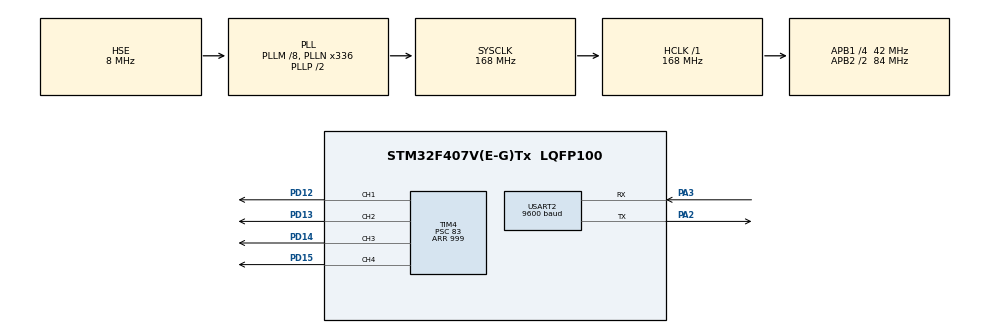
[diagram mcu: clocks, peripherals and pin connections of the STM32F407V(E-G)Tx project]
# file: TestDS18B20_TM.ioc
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FREERTOS.Tasks01=defaultTask,0,128,StartDefaultTask,Default,NULL
FREERTOS.configUSE_TIMERS=1
Mcu.Family=STM32F4
Mcu.Name=STM32F407V(E-G)Tx
Mcu.Package=LQFP100
NVIC.PriorityGroup=NVIC_PRIORITYGROUP_4
NVIC.USART2_IRQn=true\:5\:0\:false\:false\:true\:true\:true
PA2.Mode=Asynchronous
PA2.Signal=USART2_TX
PA3.Mode=Asynchronous
PA3.Signal=USART2_RX
PD12.Signal=S_TIM4_CH1
PD13.Signal=S_TIM4_CH2
PD14.Signal=S_TIM4_CH3
PD15.Signal=S_TIM4_CH4
PH0-OSC_IN.Mode=HSE-External-Oscillator
PH0-OSC_IN.Signal=RCC_OSC_IN
PH1-OSC_OUT.Mode=HSE-External-Oscillator
PH1-OSC_OUT.Signal=RCC_OSC_OUT
ProjectManager.HeapSize=0x200
ProjectManager.StackSize=0x400
ProjectManager.TargetToolchain=SW4STM32
RCC.48MHZClocksFreq_Value=48000000
RCC.AHBFreq_Value=168000000
RCC.APB1CLKDivider=RCC_HCLK_DIV4
RCC.APB1Freq_Value=42000000
RCC.APB1TimFreq_Value=84000000
RCC.APB2CLKDivider=RCC_HCLK_DIV2
RCC.APB2Freq_Value=84000000
RCC.APB2TimFreq_Value=168000000
RCC.CortexFreq_Value=168000000
RCC.HCLKFreq_Value=168000000
RCC.HSE_VALUE=8000000
RCC.HSI_VALUE=16000000
RCC.LSE_VALUE=32768
RCC.PLLM=8
RCC.PLLN=336
RCC.PLLQ=7
RCC.PLLSourceVirtual=RCC_PLLSOURCE_HSE
RCC.SYSCLKFreq_VALUE=168000000
RCC.SYSCLKSource=RCC_SYSCLKSOURCE_PLLCLK
RCC.VCOOutputFreq_Value=336000000
SH.S_TIM4_CH1.0=TIM4_CH1,PWM Generation1 CH1
SH.S_TIM4_CH2.0=TIM4_CH2,PWM Generation2 CH2
SH.S_TIM4_CH3.0=TIM4_CH3,PWM Generation3 CH3
SH.S_TIM4_CH4.0=TIM4_CH4,PWM Generation4 CH4
TIM4.Channel-PWM\ Generation1\ CH1=TIM_CHANNEL_1
TIM4.Channel-PWM\ Generation2\ CH2=TIM_CHANNEL_2
TIM4.Channel-PWM\ Generation3\ CH3=TIM_CHANNEL_3
TIM4.Channel-PWM\ Generation4\ CH4=TIM_CHANNEL_4
TIM4.Period=999
TIM4.Prescaler=83
TIM4.Pulse-PWM\ Generation1\ CH1=0
TIM4.Pulse-PWM\ Generation2\ CH2=0
TIM4.Pulse-PWM\ Generation3\ CH3=0
TIM4.Pulse-PWM\ Generation4\ CH4=0
USART2.BaudRate=9600
USART2.VirtualMode=VM_ASYNC
VP_FREERTOS_VS_ENABLE.Mode=Enabled
VP_TIM4_VS_ClockSourceINT.Mode=Internal
board=STM32F4DISCOVERY

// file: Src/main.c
/**
  ******************************************************************************
  * @file           : main.c
  * @brief          : Main program body
  ******************************************************************************
  * This notice applies to any and all portions of this file
  * that are not between comment pairs USER CODE BEGIN and
  * USER CODE END. Other portions of this file, whether
  * inserted by the user or by software development tools
  * are owned by their respective copyright owners.
  *
  * Copyright (c) 2018 STMicroelectronics International N.V.
  * All rights reserved.
  *
  * Redistribution and use in source and binary forms, with or without
  * modification, are permitted, provided that the following conditions are met:
  *
  * 1. Redistribution of source code must retain the above copyright notice,
  *    this list of conditions and the following disclaimer.
  * 2. Redistributions in binary form must reproduce the above copyright notice,
  *    this list of conditions and the following disclaimer in the documentation
  *    and/or other materials provided with the distribution.
  * 3. Neither the name of STMicroelectronics nor the names of other
  *    contributors to this software may be used to endorse or promote products
  *    derived from this software without specific written permission.
  * 4. This software, including modifications and/or derivative works of this
  *    software, must execute solely and exclusively on microcontroller or
  *    microprocessor devices manufactured by or for STMicroelectronics.
  * 5. Redistribution and use of this software other than as permitted under
  *    this license is void and will automatically terminate your rights under
  *    this license.
  *
  * THIS SOFTWARE IS PROVIDED BY STMICROELECTRONICS AND CONTRIBUTORS "AS IS"
  * AND ANY EXPRESS, IMPLIED OR STATUTORY WARRANTIES, INCLUDING, BUT NOT
  * LIMITED TO, THE IMPLIED WARRANTIES OF MERCHANTABILITY, FITNESS FOR A
  * PARTICULAR PURPOSE AND NON-INFRINGEMENT OF THIRD PARTY INTELLECTUAL PROPERTY
  * RIGHTS ARE DISCLAIMED TO THE FULLEST EXTENT PERMITTED BY LAW. IN NO EVENT
  * SHALL STMICROELECTRONICS OR CONTRIBUTORS BE LIABLE FOR ANY DIRECT, INDIRECT,
  * INCIDENTAL, SPECIAL, EXEMPLARY, OR CONSEQUENTIAL DAMAGES (INCLUDING, BUT NOT
  * LIMITED TO, PROCUREMENT OF SUBSTITUTE GOODS OR SERVICES; LOSS OF USE, DATA,
  * OR PROFITS; OR BUSINESS INTERRUPTION) HOWEVER CAUSED AND ON ANY THEORY OF
  * LIABILITY, WHETHER IN CONTRACT, STRICT LIABILITY, OR TORT (INCLUDING
  * NEGLIGENCE OR OTHERWISE) ARISING IN ANY WAY OUT OF THE USE OF THIS SOFTWARE,
  * EVEN IF ADVISED OF THE POSSIBILITY OF SUCH DAMAGE.
  *
  ******************************************************************************
  */
#include "main.h"
#include "stm32f4xx_hal.h"
#include "cmsis_os.h"

/* USER CODE BEGIN Includes */

/* Include core modules */
#include "stm32fxxx_hal.h"
/* Include my libraries here */
#include "defines.h"
//#include "tm_stm32_disco.h"
#include "tm_stm32_delay.h"
#include "tm_stm32_ds18b20.h"
#include "tm_stm32_onewire.h"
#include "stdlib.h"
#include "string.h"
#include "math.h"

/* USER CODE END Includes */

TIM_HandleTypeDef htim4;

UART_HandleTypeDef huart2;

osThreadId defaultTaskHandle;

/* USER CODE BEGIN PV */
/* Private variables ---------------------------------------------------------*/
char rx_buff[10] = "IDLE";
char tx_buff[10] = "IDLE"; //SEND only temperature
osTimerId ledRunningTimer;
osTimerId fanTimerID;
osTimerId DS18B20TimerID;
osTimerId rgbRainbowTimerID;
osTimerId temperatureTimerID;
osTimerId staticColorTimerID;
osTimerId twoFadeTimerID;
osTimerId UARTListenTimerID;
//osThreadId fanThreadID;
//osThreadId DS18B20ThreadID;
//uint16_t fanSpeed = 999;//maximum 999
uint16_t fanSpeedP1[2] = {20, 600};
uint16_t fanSpeedP2[2] = {50, 800};
uint16_t fanSpeedP3[2] = {70, 900};
uint16_t fanSpeedP4[2] = {80, 999};
uint16_t const MAXFANSPEED = 999;
uint8_t const NORMALTEMPERATURE = 30;
uint8_t const HOTTEMPERATURE = 55;
uint8_t ledStep = 1;

/* Onewire structure */
TM_OneWire_t OW;

/* Array for DS18B20 ROM number */
uint8_t DS_ROM[8];

/* Temperature variable */
float temperature;

//osSemaphoreId binSemFanSpeedID;
osSemaphoreId binSemaphoreRGBStripID;

typedef enum { WAIT_FOR_COMMAND, WAIT_FOR_COLOR1, WAIT_FOR_COLOR2, WAIT_FOR_POINT1, WAIT_FOR_POINT2, WAIT_FOR_POINT3, WAIT_FOR_POINT4} CommandStage;
CommandStage cmdStage = WAIT_FOR_COMMAND;

typedef enum { RAINBOW, TEMPERATURE, STATIC_COLOR, TWOFADE} RGBMode; //Breathing is twofade with another color is 0 0 0
uint16_t rgbColour[3] = {999, 0, 0};
uint16_t rgbColour2[3] = {999, 0, 0};
RGBMode rgbMode = RAINBOW;
uint16_t decColour = 0;
uint16_t incColour = 1;
uint16_t rainBowCounter = 0;
/* USER CODE END PV */

void SystemClock_Config(void);
static void MX_GPIO_Init(void);
static void MX_USART2_UART_Init(void);
static void MX_TIM4_Init(void);
void StartDefaultTask(void const * argument);
void HAL_TIM_MspPostInit(TIM_HandleTypeDef *htim);

/* USER CODE BEGIN PFP */
/* Private function prototypes -----------------------------------------------*/
/**
 * cmd Example(Maximum value) : F100, LS10 LM03
 */
//void changeFanSpeed(uint16_t speed_percent);
void reverse(char *str, int len);
int intToStr(int x, char str[], int d);
void ftoa(float n, char *res, int afterpoint);
void resetRainbowTask();
void processCommand(char* cmd){
	cmd[4] = '\0';
	if(cmd[0] == 'F'){ //F
		//changeFanSpeed((uint16_t)atoi(cmd + 1));
		cmdStage = WAIT_FOR_POINT1;
		HAL_UART_Receive_IT(&huart2, (uint8_t *)rx_buff, 6); //080100
	} else if(cmd[0] == 'L'){ //L
		if(cmd[1] == 'S'){ //LS
			ledStep = (atoi(cmd + 2));
			if(rgbMode == RAINBOW){
				resetRainbowTask();
			}
		}else {//LM
			rgbMode = (RGBMode)(atoi(cmd + 3));
			if(rgbMode != RAINBOW){
				cmdStage = WAIT_FOR_COLOR1;
				HAL_UART_Receive_IT(&huart2, (uint8_t *)rx_buff, 9);
			}
			osTimerStop(ledRunningTimer);
			switch(rgbMode){
			case RAINBOW:
				resetRainbowTask();
				osTimerStart(rgbRainbowTimerID, 5);
				ledRunningTimer = rgbRainbowTimerID;
				break;
			case TEMPERATURE:
				osTimerStart(temperatureTimerID, 100);
				ledRunningTimer = temperatureTimerID;
				break;
			case STATIC_COLOR:
				osTimerStart(staticColorTimerID, 1000);
				ledRunningTimer = staticColorTimerID;
				break;
			case TWOFADE:
				rainBowCounter = 0;
				osTimerStart(twoFadeTimerID, 5);
				ledRunningTimer = twoFadeTimerID;
				break;
			}
		}
	}
}

void HAL_UART_RxCpltCallback(UART_HandleTypeDef *huart)
{
	char copybuf[10];
	strncpy(copybuf, rx_buff, 10);
	switch(cmdStage){
	case WAIT_FOR_COMMAND:
		processCommand(copybuf);
		break;
	case WAIT_FOR_COLOR1:
		copybuf[10] = '\0';
		rgbColour[2] = atoi(copybuf + 6);
		copybuf[6] = '\0';
		rgbColour[1] = atoi(copybuf + 3);
		copybuf[3] = '\0';
		rgbColour[0] = atoi(copybuf);
		cmdStage = WAIT_FOR_COLOR2;
		HAL_UART_Receive_IT(&huart2, (uint8_t *)rx_buff, 9);
		break;
	case WAIT_FOR_COLOR2:
		copybuf[10] = '\0';
		rgbColour2[2] = atoi(copybuf + 6);
		copybuf[6] = '\0';
		rgbColour2[1] = atoi(copybuf + 3);
		copybuf[3] = '\0';
		rgbColour2[0] = atoi(copybuf);
		cmdStage = WAIT_FOR_COMMAND;
		break;
	case WAIT_FOR_POINT1:
		copybuf[7] = '\0';
		fanSpeedP1[1] = (atoi(copybuf + 3)/100.0)*MAXFANSPEED;
		copybuf[3] = '\0';
		fanSpeedP1[0] = atoi(copybuf);
		cmdStage = WAIT_FOR_POINT2;
		HAL_UART_Receive_IT(&huart2, (uint8_t *)rx_buff, 6);
		break;
	case WAIT_FOR_POINT2:
		copybuf[7] = '\0';
		fanSpeedP2[1] = (atoi(copybuf + 3)/100.0)*MAXFANSPEED;
		copybuf[3] = '\0';
		fanSpeedP2[0] = atoi(copybuf);
		cmdStage = WAIT_FOR_POINT3;
		HAL_UART_Receive_IT(&huart2, (uint8_t *)rx_buff, 6);
		break;
	case WAIT_FOR_POINT3:
		copybuf[7] = '\0';
		fanSpeedP3[1] = (atoi(copybuf + 3)/100.0)*MAXFANSPEED;
		copybuf[3] = '\0';
		fanSpeedP3[0] = atoi(copybuf);
		cmdStage = WAIT_FOR_POINT4;
		HAL_UART_Receive_IT(&huart2, (uint8_t *)rx_buff, 6);
		break;
	case WAIT_FOR_POINT4:
		copybuf[7] = '\0';
		fanSpeedP4[1] = (atoi(copybuf + 3)/100.0)*MAXFANSPEED;
		copybuf[3] = '\0';
		fanSpeedP4[0] = atoi(copybuf);
		cmdStage = WAIT_FOR_COMMAND;
		break;
	}
}

void UARTListenTask(void const * argument){
//	uint8_t listenSize = 4;
	if(cmdStage == WAIT_FOR_COMMAND){
		HAL_UART_Receive_IT(&huart2, (uint8_t *)rx_buff, 4);
	}
}

// reverses a string 'str' of length 'len'
void reverse(char *str, int len)
{
    int i=0, j=len-1, temp;
    while (i<j)
    {
        temp = str[i];
        str[i] = str[j];
        str[j] = temp;
        i++; j--;
    }
}
 // Converts a given integer x to string str[].  d is the number
 // of digits required in output. If d is more than the number
 // of digits in x, then 0s are added at the beginning.
int intToStr(int x, char str[], int d)
{
    int i = 0;
    while (x)
    {
        str[i++] = (x%10) + '0';
        x = x/10;
    }

    // If number of digits required is more, then
    // add 0s at the beginning
    while (i < d)
        str[i++] = '0';

    reverse(str, i);
    str[i] = '\0';
    return i;
}
// Converts a floating point number to string.
void ftoa(float n, char *res, int afterpoint)
{
    // Extract integer part
    int ipart = (int)n;

    // Extract floating part
    float fpart = n - (float)ipart;

    // convert integer part to string
    int i = intToStr(ipart, res, 0);

    // check for display option after point
    if (afterpoint != 0)
    {
        res[i] = '.';  // add dot

        // Get the value of fraction part upto given no.
        // of points after dot. The third parameter is needed
        // to handle cases like 233.007
        fpart = fpart * pow(10, afterpoint);

        intToStr((int)fpart, res + i + 1, afterpoint);
    }
}

void DS18B20Task(void const * argument){
	/* Check if connected device is DS18B20 */
	if (TM_DS18B20_Is(DS_ROM)) {
		/* Everything is done */
		if (TM_DS18B20_AllDone(&OW)) {
			/* Read temperature from device */
			if (TM_DS18B20_Read(&OW, DS_ROM, &temperature)) {
				/* Temp read OK, CRC is OK */

				/* Start again on all sensors */
				TM_DS18B20_StartAll(&OW);

//				/* Check temperature */
//				if (temperature > 30) {
//					//TM_DISCO_LedOn(LED_RED);
//					htim4.Instance->CCR4 = 999;
//				} else {
//					//TM_DISCO_LedOff(LED_RED);
//					htim4.Instance->CCR4 = 0;
//				}
				char temp[10];
				ftoa(temperature, temp, 4);
				sprintf(tx_buff, "%s\n", temp);
				HAL_UART_Transmit(&huart2, (uint8_t*) tx_buff, strlen(tx_buff), 500);
			} else {
				/* CRC failed, hardware problems on data line */
			}
		}
	}
//	osDelay(1000);
}

void fanTask(void const * argument){
	//Blue LED
//	osSemaphoreWait(binSemFanSpeedID, 200);
	float temp = temperature;
	if(temp <= fanSpeedP1[0]){
		htim4.Instance->CCR4 = fanSpeedP1[1];
	} else if(temp <= fanSpeedP2[0]){
		htim4.Instance->CCR4 = fanSpeedP1[1] + ((fanSpeedP2[1] - fanSpeedP1[1])/(fanSpeedP2[0] - fanSpeedP1[0])*(temp - fanSpeedP1[0]));
	} else if(temp <= fanSpeedP3[0]){
		htim4.Instance->CCR4 = fanSpeedP2[1] + ((fanSpeedP3[1] - fanSpeedP2[1])/(fanSpeedP3[0] - fanSpeedP2[0])*(temp - fanSpeedP2[0]));
	} else if(temp <= fanSpeedP4[0]){
		htim4.Instance->CCR4 = fanSpeedP3[1] + ((fanSpeedP4[1] - fanSpeedP3[1])/(fanSpeedP4[0] - fanSpeedP3[0])*(temp - fanSpeedP3[0]));
	} else {
		htim4.Instance->CCR4 = fanSpeedP4[1];
	}
//	osSemaphoreRelease(binSemFanSpeedID);
//	osDelay(200);
}

void resetRainbowTask(){
	rgbColour[0] = 999;
	rgbColour[1] = 000;
	rgbColour[2] = 000;
	decColour = 0;
	incColour = 1;
	rainBowCounter = 0;
}

void rgbStrip_RainbowTask(void const * argument){
	rgbColour[decColour] -= ledStep;
	rgbColour[incColour] += ledStep;
	htim4.Instance->CCR1 = rgbColour[0];
	htim4.Instance->CCR2 = rgbColour[1];
	htim4.Instance->CCR3 = rgbColour[2];

	rainBowCounter += ledStep;
	if(rainBowCounter >= 999 - ledStep){
		rainBowCounter = 0;
		decColour = (decColour + 1) % 3;
		incColour = decColour == 2 ? 0 : decColour + 1;
	}
//	osDelay(5);
}

void rgbStrip_TemperatureTask(void const * argument){
	//TODO two color fading
	if(temperature < NORMALTEMPERATURE){
		htim4.Instance->CCR1 = rgbColour[0];
		htim4.Instance->CCR2 = rgbColour[1];
		htim4.Instance->CCR3 = rgbColour[2];
	} else if(temperature < HOTTEMPERATURE){
		float tempDiff = (temperature - NORMALTEMPERATURE) / (HOTTEMPERATURE - NORMALTEMPERATURE);
		htim4.Instance->CCR1 = rgbColour[0] + ((rgbColour2[0] - rgbColour[0])*tempDiff);
		htim4.Instance->CCR2 = rgbColour[1] + ((rgbColour2[1] - rgbColour[1])*tempDiff);
		htim4.Instance->CCR3 = rgbColour[2] + ((rgbColour2[2] - rgbColour[2])*tempDiff);
	} else {
		htim4.Instance->CCR1 = rgbColour2[0];
		htim4.Instance->CCR2 = rgbColour2[1];
		htim4.Instance->CCR3 = rgbColour2[2];
	}
//	osDelay(1000);
}

void rgbStrip_StaticTask(void const * argument){
	//TODO static color
	htim4.Instance->CCR1 = rgbColour[0];
	htim4.Instance->CCR2 = rgbColour[1];
	htim4.Instance->CCR3 = rgbColour[2];
}

void rgbStrip_TwoFadeTask(void const * argument){
	//TODO two fading color
	rainBowCounter += ledStep;

	if(rainBowCounter <= 1000){
		htim4.Instance->CCR1 = rgbColour[0] + ((rgbColour2[0] - rgbColour[0])*(rainBowCounter/1000.0));
		htim4.Instance->CCR2 = rgbColour[1] + ((rgbColour2[1] - rgbColour[1])*(rainBowCounter/1000.0));
		htim4.Instance->CCR3 = rgbColour[2] + ((rgbColour2[2] - rgbColour[2])*(rainBowCounter/1000.0));
	} else if (rainBowCounter <= 2000){
		uint16_t rbc = rainBowCounter - 1000;
		htim4.Instance->CCR1 = rgbColour2[0] + ((rgbColour[0] - rgbColour2[0])*(rbc/1000.0));
		htim4.Instance->CCR2 = rgbColour2[1] + ((rgbColour[1] - rgbColour2[1])*(rbc/1000.0));
		htim4.Instance->CCR3 = rgbColour2[2] + ((rgbColour[2] - rgbColour2[2])*(rbc/1000.0));
	} else {
		rainBowCounter = 0;
	}
}
/* USER CODE END PFP */

int main(void)
{
  /* USER CODE BEGIN 1 */
	//TM_RCC_InitSystem();
  /* USER CODE END 1 */

  /* MCU Configuration----------------------------------------------------------*/

  /* Reset of all peripherals, Initializes the Flash interface and the Systick. */
  HAL_Init();

  /* Configure the system clock */
  SystemClock_Config();

  /* Initialize all configured peripherals */
  MX_GPIO_Init();
  MX_USART2_UART_Init();
  MX_TIM4_Init();
  /* USER CODE BEGIN 2 */

  /* Init ONEWIRE port on PB4 pin */
  TM_OneWire_Init(&OW, GPIOB, GPIO_PIN_4);

  HAL_TIM_PWM_Start(&htim4, TIM_CHANNEL_1);
  HAL_TIM_PWM_Start(&htim4, TIM_CHANNEL_2);
  HAL_TIM_PWM_Start(&htim4, TIM_CHANNEL_3);
  HAL_TIM_PWM_Start(&htim4, TIM_CHANNEL_4);

  /* Check if any device is connected */
  if (TM_OneWire_First(&OW)) {
	/* Set LED GREEN */
//	htim4.Instance->CCR1 = 999;
    //TM_DISCO_LedOn(LED_GREEN);

    /* Read ROM number */
    TM_OneWire_GetFullROM(&OW, DS_ROM);
  } else {
    /* Set LED RED */
//	htim4.Instance->CCR2 = 99;
  }

   /* Start temp conversion */
   if (TM_DS18B20_Is(DS_ROM)) {
    /* Set resolution */
    TM_DS18B20_SetResolution(&OW, DS_ROM, TM_DS18B20_Resolution_12bits);

    /* Set high and low alarms */
    TM_DS18B20_SetAlarmHighTemperature(&OW, DS_ROM, 30);
    TM_DS18B20_SetAlarmLowTemperature(&OW, DS_ROM, 10);

    /* Start conversion on all sensors */
    TM_DS18B20_StartAll(&OW);
   }

  /* USER CODE END 2 */

  /* USER CODE BEGIN RTOS_SEMAPHORES */
  /* add semaphores, ... */
//   osSemaphoreDef(BinSemaphoreFanSpeed);
//   binSemFanSpeedID = osSemaphoreCreate(osSemaphore(BinSemaphoreFanSpeed), 1);
   osSemaphoreDef(BinSemaphoreRGBStrip);
   binSemaphoreRGBStripID = osSemaphoreCreate(osSemaphore(BinSemaphoreRGBStrip), 1);
  /* USER CODE END RTOS_SEMAPHORES */

  /* Create the thread(s) */
  /* definition and creation of defaultTask */
  osThreadDef(defaultTask, StartDefaultTask, osPriorityNormal, 0, 128);
  defaultTaskHandle = osThreadCreate(osThread(defaultTask), NULL);

  /* Start scheduler */
  osKernelStart();

  /* We should never get here as control is now taken by the scheduler */

  /* Infinite loop */
  while (1)
  {

  }

}

void SystemClock_Config(void)
{

  RCC_OscInitTypeDef RCC_OscInitStruct;
  RCC_ClkInitTypeDef RCC_ClkInitStruct;

    /**Configure the main internal regulator output voltage
    */
  __HAL_RCC_PWR_CLK_ENABLE();

  __HAL_PWR_VOLTAGESCALING_CONFIG(PWR_REGULATOR_VOLTAGE_SCALE1);

    /**Initializes the CPU, AHB and APB busses clocks
    */
  RCC_OscInitStruct.OscillatorType = RCC_OSCILLATORTYPE_HSE;
  RCC_OscInitStruct.HSEState = RCC_HSE_ON;
  RCC_OscInitStruct.PLL.PLLState = RCC_PLL_ON;
  RCC_OscInitStruct.PLL.PLLSource = RCC_PLLSOURCE_HSE;
  RCC_OscInitStruct.PLL.PLLM = 8;
  RCC_OscInitStruct.PLL.PLLN = 336;
  RCC_OscInitStruct.PLL.PLLP = RCC_PLLP_DIV2;
  RCC_OscInitStruct.PLL.PLLQ = 7;
  if (HAL_RCC_OscConfig(&RCC_OscInitStruct) != HAL_OK)
  {
    _Error_Handler(__FILE__, __LINE__);
  }

    /**Initializes the CPU, AHB and APB busses clocks
    */
  RCC_ClkInitStruct.ClockType = RCC_CLOCKTYPE_HCLK|RCC_CLOCKTYPE_SYSCLK
                              |RCC_CLOCKTYPE_PCLK1|RCC_CLOCKTYPE_PCLK2;
  RCC_ClkInitStruct.SYSCLKSource = RCC_SYSCLKSOURCE_PLLCLK;
  RCC_ClkInitStruct.AHBCLKDivider = RCC_SYSCLK_DIV1;
  RCC_ClkInitStruct.APB1CLKDivider = RCC_HCLK_DIV4;
  RCC_ClkInitStruct.APB2CLKDivider = RCC_HCLK_DIV2;

  if (HAL_RCC_ClockConfig(&RCC_ClkInitStruct, FLASH_LATENCY_5) != HAL_OK)
  {
    _Error_Handler(__FILE__, __LINE__);
  }

    /**Configure the Systick interrupt time
    */
  HAL_SYSTICK_Config(HAL_RCC_GetHCLKFreq()/1000);

    /**Configure the Systick
    */
  HAL_SYSTICK_CLKSourceConfig(SYSTICK_CLKSOURCE_HCLK);

  /* SysTick_IRQn interrupt configuration */
  HAL_NVIC_SetPriority(SysTick_IRQn, 15, 0);
}

/* TIM4 init function */
static void MX_TIM4_Init(void)
{

  TIM_ClockConfigTypeDef sClockSourceConfig;
  TIM_MasterConfigTypeDef sMasterConfig;
  TIM_OC_InitTypeDef sConfigOC;

  htim4.Instance = TIM4;
  htim4.Init.Prescaler = 83;
  htim4.Init.CounterMode = TIM_COUNTERMODE_UP;
  htim4.Init.Period = 999;
  htim4.Init.ClockDivision = TIM_CLOCKDIVISION_DIV1;
  if (HAL_TIM_Base_Init(&htim4) != HAL_OK)
  {
    _Error_Handler(__FILE__, __LINE__);
  }

  sClockSourceConfig.ClockSource = TIM_CLOCKSOURCE_INTERNAL;
  if (HAL_TIM_ConfigClockSource(&htim4, &sClockSourceConfig) != HAL_OK)
  {
    _Error_Handler(__FILE__, __LINE__);
  }

  if (HAL_TIM_PWM_Init(&htim4) != HAL_OK)
  {
    _Error_Handler(__FILE__, __LINE__);
  }

  sMasterConfig.MasterOutputTrigger = TIM_TRGO_RESET;
  sMasterConfig.MasterSlaveMode = TIM_MASTERSLAVEMODE_DISABLE;
  if (HAL_TIMEx_MasterConfigSynchronization(&htim4, &sMasterConfig) != HAL_OK)
  {
    _Error_Handler(__FILE__, __LINE__);
  }

  sConfigOC.OCMode = TIM_OCMODE_PWM1;
  sConfigOC.Pulse = 0;
  sConfigOC.OCPolarity = TIM_OCPOLARITY_HIGH;
  sConfigOC.OCFastMode = TIM_OCFAST_DISABLE;
  if (HAL_TIM_PWM_ConfigChannel(&htim4, &sConfigOC, TIM_CHANNEL_1) != HAL_OK)
  {
    _Error_Handler(__FILE__, __LINE__);
  }

  if (HAL_TIM_PWM_ConfigChannel(&htim4, &sConfigOC, TIM_CHANNEL_2) != HAL_OK)
  {
    _Error_Handler(__FILE__, __LINE__);
  }

  if (HAL_TIM_PWM_ConfigChannel(&htim4, &sConfigOC, TIM_CHANNEL_3) != HAL_OK)
  {
    _Error_Handler(__FILE__, __LINE__);
  }

  if (HAL_TIM_PWM_ConfigChannel(&htim4, &sConfigOC, TIM_CHANNEL_4) != HAL_OK)
  {
    _Error_Handler(__FILE__, __LINE__);
  }

  HAL_TIM_MspPostInit(&htim4);

}

/* USART2 init function */
static void MX_USART2_UART_Init(void)
{

  huart2.Instance = USART2;
  huart2.Init.BaudRate = 9600;
  huart2.Init.WordLength = UART_WORDLENGTH_8B;
  huart2.Init.StopBits = UART_STOPBITS_1;
  huart2.Init.Parity = UART_PARITY_NONE;
  huart2.Init.Mode = UART_MODE_TX_RX;
  huart2.Init.HwFlowCtl = UART_HWCONTROL_NONE;
  huart2.Init.OverSampling = UART_OVERSAMPLING_16;
  if (HAL_UART_Init(&huart2) != HAL_OK)
  {
    _Error_Handler(__FILE__, __LINE__);
  }

}

/** Configure pins as
        * Analog
        * Input
        * Output
        * EVENT_OUT
        * EXTI
*/
static void MX_GPIO_Init(void)
{

  /* GPIO Ports Clock Enable */
  __HAL_RCC_GPIOH_CLK_ENABLE();
  __HAL_RCC_GPIOA_CLK_ENABLE();
  __HAL_RCC_GPIOD_CLK_ENABLE();

}

/* StartDefaultTask function */
void StartDefaultTask(void const * argument)
{

  /* USER CODE BEGIN 5 */
	osTimerDef(UARTListenTimer, UARTListenTask);
	UARTListenTimerID = osTimerCreate(osTimer(UARTListenTimer), osTimerPeriodic, NULL);
	osTimerStart(UARTListenTimerID, 300);

	osTimerDef(fanTimer, fanTask);
	fanTimerID = osTimerCreate(osTimer(fanTimer), osTimerPeriodic, NULL);
	osTimerStart(fanTimerID, 200);

	osTimerDef(DS18B20Timer, DS18B20Task);
	DS18B20TimerID = osTimerCreate(osTimer(DS18B20Timer), osTimerPeriodic, NULL);
	osTimerStart(DS18B20TimerID, 100);

	//LED Strip
	osTimerDef(rgbRainbowTimer, rgbStrip_RainbowTask);
	rgbRainbowTimerID = osTimerCreate(osTimer(rgbRainbowTimer), osTimerPeriodic, NULL);

	osTimerDef(temperatureTimer, rgbStrip_TemperatureTask);
	temperatureTimerID = osTimerCreate(osTimer(temperatureTimer), osTimerPeriodic, NULL);

	osTimerDef(staticColorTimer, rgbStrip_StaticTask);
	staticColorTimerID = osTimerCreate(osTimer(staticColorTimer), osTimerOnce, NULL);

	osTimerDef(twoFadeTimer, rgbStrip_TwoFadeTask);
	twoFadeTimerID = osTimerCreate(osTimer(twoFadeTimer), osTimerPeriodic, NULL);

	osTimerStart(rgbRainbowTimerID, 5);
	ledRunningTimer = rgbRainbowTimerID;

  /* Infinite loop */
  for(;;){

    osDelay(1);
  }
  /* USER CODE END 5 */
}

void _Error_Handler(char *file, int line)
{
  while(1)
  {
  }
}

/************************ (C) COPYRIGHT STMicroelectronics *****END OF FILE****/
